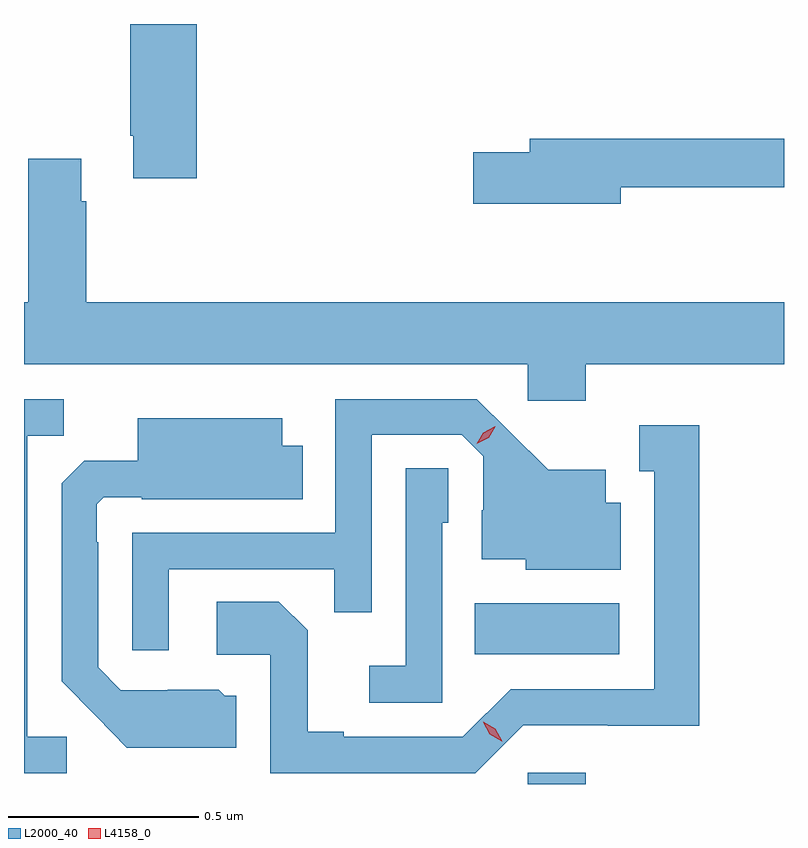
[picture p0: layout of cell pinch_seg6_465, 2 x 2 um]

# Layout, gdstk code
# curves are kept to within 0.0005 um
import gdstk
lib = gdstk.Library(unit=1e-6, precision=1e-09)
def R(c, l, rs):  # rectangles x0, y0, x1, y1
    for r in rs: c.add(gdstk.rectangle(r[:2], r[2:], *l))
def P(c, l, *ps):  # polygons
    for p in ps: c.add(gdstk.Polygon(p, *l))
L2000_40 = (2000, 40)
L4158_0 = (4158, 0)

pinch_seg6_465 = lib.new_cell('pinch_seg6_465')
R(pinch_seg6_465, L2000_40, [(736.02,934.244,736.172,934.273), (735.88,934.586,736.261,934.72)])
P(pinch_seg6_465, L2000_40, [(735.149,936.244),(734.974,936.244),(734.974,935.95),(734.981,935.95),(734.981,935.838),(735.149,935.838)],
  [(736.264,935.814),(736.694,935.814),(736.694,935.942),(736.025,935.942),(736.025,935.906),(735.876,935.906),(735.876,935.771),(736.264,935.771)],
  [(736.172,935.348),(736.694,935.348),(736.694,935.512),(734.858,935.512),(734.858,935.777),(734.845,935.777),(734.845,935.89),(734.705,935.89),(734.705,935.512),(734.694,935.512),(734.694,935.348),(736.02,935.348),(736.02,935.253),(736.172,935.253)],
  [(734.806,934.368),(734.703,934.368),(734.703,935.161),(734.799,935.161),(734.799,935.256),(734.694,935.256),(734.694,934.272),(734.806,934.272)],
  [(735.075,934.809),(735.511,934.809),(735.511,934.696),(735.609,934.696),(735.609,935.163),(735.846,935.163),(735.903,935.106),(735.903,934.964),(735.899,934.964),(735.899,934.835),(736.014,934.835),(736.014,934.808),(736.264,934.808),(736.264,934.984),(736.225,934.984),(736.225,935.071),(736.073,935.071),(735.886,935.256),(735.513,935.256),(735.513,934.905),(734.979,934.905),(734.979,934.596),(735.075,934.596)],
  [(735.253,934.476),(735.222,934.476),(735.206,934.492),(735.072,934.492),(735.072,934.491),(734.949,934.491),(734.889,934.551),(734.889,934.88),(734.886,934.88),(734.886,934.98),(734.904,934.998),(735.004,934.998),(735.004,934.994),(735.428,934.994),(735.428,935.134),(735.373,935.134),(735.373,935.206),(734.993,935.206),(734.993,935.095),(734.852,935.095),(734.793,935.036),(734.793,934.514),(734.965,934.34),(735.253,934.34)],
  [(736.008,934.398),(736.23,934.398),(736.23,934.397),(736.471,934.397),(736.471,935.188),(736.313,935.188),(736.313,935.067),(736.352,935.067),(736.352,934.494),(735.975,934.494),(735.849,934.368),(735.535,934.368),(735.535,934.381),(735.441,934.381),(735.441,934.648),(735.365,934.724),(735.201,934.724),(735.201,934.584),(735.342,934.584),(735.342,934.272),(735.882,934.272)],
  [(735.795,934.932),(735.81,934.932),(735.81,935.075),(735.699,935.075),(735.699,934.555),(735.603,934.555),(735.603,934.458),(735.795,934.458)])
P(pinch_seg6_465, L4158_0, [(735.951,934.356),(735.92,934.375),(735.902,934.407),(735.902,934.408),(735.902,934.408),(735.934,934.389),(735.952,934.356),(735.952,934.356)],
  [(735.886,935.139),(735.886,935.139),(735.903,935.169),(735.934,935.185),(735.934,935.185),(735.934,935.184),(735.917,935.155),(735.886,935.139)])

lib.write_gds('pinch_seg6_465.gds')
